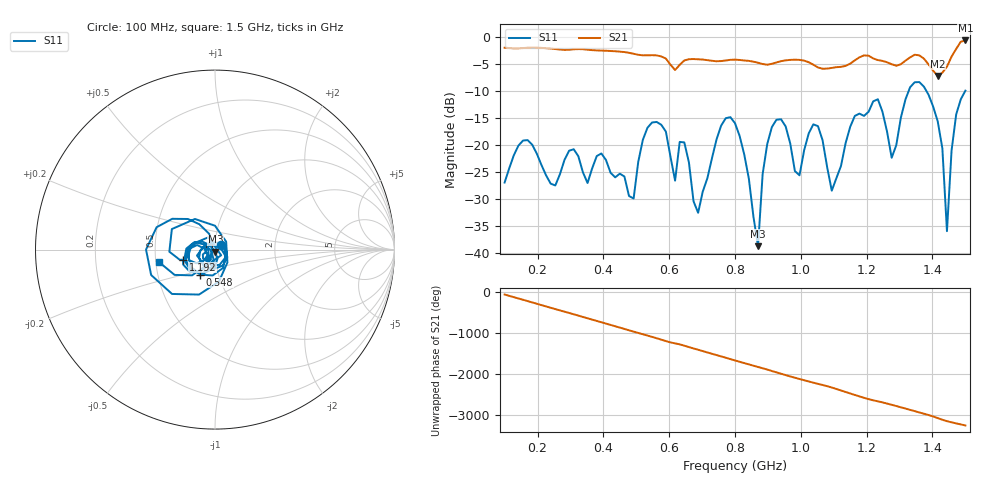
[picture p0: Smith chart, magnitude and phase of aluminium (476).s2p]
! NanoVNA-App
! Date: 2025-09-25 14:58:59
! Start: 100MHz Stop: 1,5GHz Points: 101
! S-Parameter data: F S11 S21 S12 S22
# Hz S RI R 50
!  Frequency  S11_Real  S11_Imag  S21_Real  S21_Imag  S12_Real  S12_Imag  S22_Real  S22_Imag
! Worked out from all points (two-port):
!   101 points, 100 MHz to 1.5 GHz, reference 50 ohm
!   highest |S21| = -0.58 dB at 1.5 GHz (marker M1); lowest = -7.2 dB at 1.416 GHz (marker M2)
!   |S21| within 3 dB of the highest: start of sweep to 577.2 MHz; 1.458 GHz to end of sweep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
!   lowest |S11| = -38.8 dB at 870 MHz (marker M3), VSWR 1.02, Z = 50.2 - j1.14 ohm
!   |S11| at or under -10 dB: start of sweep to 1.327 GHz; 1.382 GHz to 1.499 GHz (117.2 MHz wide, 8.13 % of centre)
!   S12 and S22 are empty: the file has one direction only
!   S11 on the Smith chart (normalised r, x): 100 MHz: 1.07, +0.06; 548 MHz: 0.82, -0.23; 1.192 GHz: 0.69, -0.08; 1.5 GHz: 0.52, -0.08
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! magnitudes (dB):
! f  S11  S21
! 100 MHz  -27.0  -1.9
! 156 MHz  -19.2  -2.0
! 338 MHz  -25.1  -2.2
! 492 MHz  -29.9  -3.1
! 548 MHz  -15.8  -3.3
! 576 MHz  -16.2  -3.5
! 646 MHz  -19.5  -4.3
! 688 MHz  -32.6  -4.1
! 800 MHz  -15.9  -4.1
! 870 MHz  -38.8  -4.7
! 912 MHz  -16.7  -4.9
! 996 MHz  -25.6  -4.2
! 1.038 GHz  -16.2  -5.1
! 1.094 GHz  -28.5  -5.7
! 1.192 GHz  -14.6  -3.3
! 1.234 GHz  -11.5  -4.2
! 1.276 GHz  -22.4  -5.0
! 1.346 GHz  -8.3  -3.2
! 1.416 GHz  -15.6  -7.2
! 1.444 GHz  -36.0  -5.4
! 1.472 GHz  -14.3  -2.2
! 1.5 GHz  -9.9  -0.6
